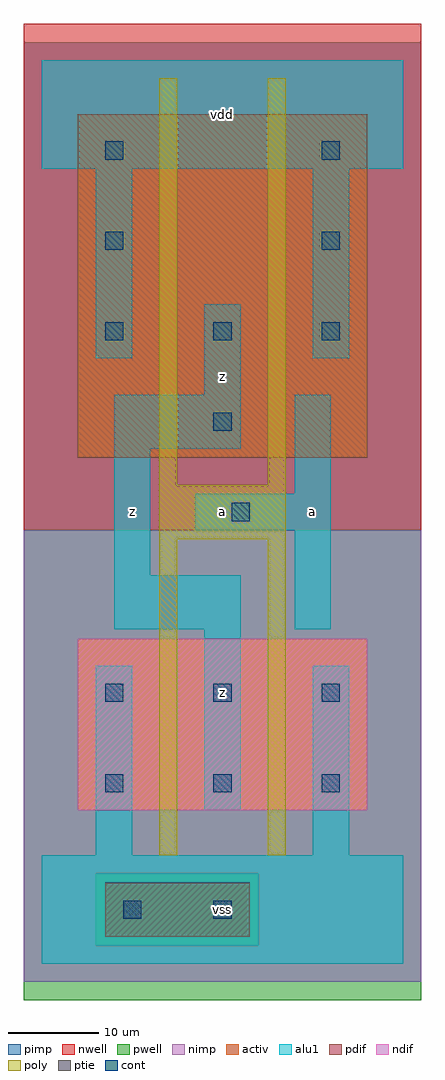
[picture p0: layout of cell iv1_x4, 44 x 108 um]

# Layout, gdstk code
import gdstk
lib = gdstk.Library(unit=1e-6, precision=1e-09)
def R(c, l, rs):  # rectangles x0, y0, x1, y1
    for r in rs: c.add(gdstk.rectangle(r[:2], r[2:], *l))
def A(c, l, x, y, w, h, nx, ny, dx, dy):  # array of equal rectangles
    R(c, l, [(x+i*dx, y+j*dy, x+i*dx+w, y+j*dy+h) for i in range(nx) for j in range(ny)])
ndif = (3, 0)
pdif = (4, 0)
ptie = (6, 0)
cont = (25, 0)
pwell = (41, 0)
nwell = (42, 0)
activ = (43, 0)
pimp = (44, 0)
nimp = (45, 0)
poly = (46, 0)
alu1 = (49, 0)

iv1_x4 = lib.new_cell('iv1_x4')
R(iv1_x4, ndif, [(4,17,36,36)])
R(iv1_x4, pdif, [(4,56,36,94)])
R(iv1_x4, ptie, [(7,3,23,9)])
A(iv1_x4, cont, 7, 19, 2, 2, 3, 2, 12, 10)
A(iv1_x4, cont, 7, 69, 2, 2, 3, 1, 12, 0)
R(iv1_x4, cont, [(9,5,11,7), (19,5,21,7), (21,49,23,51), (19,59,21,61), (7,79,9,81), (31,79,33,81), (7,89,9,91), (31,89,33,91)])
R(iv1_x4, pwell, [(-2,-4,42,48)])
R(iv1_x4, nwell, [(-2,48,42,104)])
R(iv1_x4, activ, [(7,3,23,9), (4,17,36,36), (4,56,36,94)])
R(iv1_x4, pimp, [(6,2,24,10), (-2,48,42,102)])
R(iv1_x4, nimp, [(-2,-2,42,2), (-2,2,6,10), (24,2,42,10), (-2,10,42,48)])
R(iv1_x4, poly, [(13,12,15,47), (25,12,27,47), (13,47,27,53), (13,53,15,98), (25,53,27,98)])
R(iv1_x4, alu1, [(0,0,40,12), (6,12,10,33), (30,12,34,33), (18,17,22,37), (8,37,22,43), (28,37,32,48), (8,43,12,57), (17,48,32,52), (28,52,32,63), (8,57,22,63), (18,63,22,73), (6,67,10,88), (30,67,34,88), (0,88,40,100)])
iv1_x4.add(gdstk.Label('z', (10,50), layer=49, texttype=0))
iv1_x4.add(gdstk.Label('vss', (20,6), layer=49, texttype=0))
iv1_x4.add(gdstk.Label('z', (20,30), layer=49, texttype=0))
iv1_x4.add(gdstk.Label('a', (20,50), layer=49, texttype=0))
iv1_x4.add(gdstk.Label('z', (20,65), layer=49, texttype=0))
iv1_x4.add(gdstk.Label('vdd', (20,94), layer=49, texttype=0))
iv1_x4.add(gdstk.Label('a', (30,50), layer=49, texttype=0))

lib.write_gds('iv1_x4.gds')
